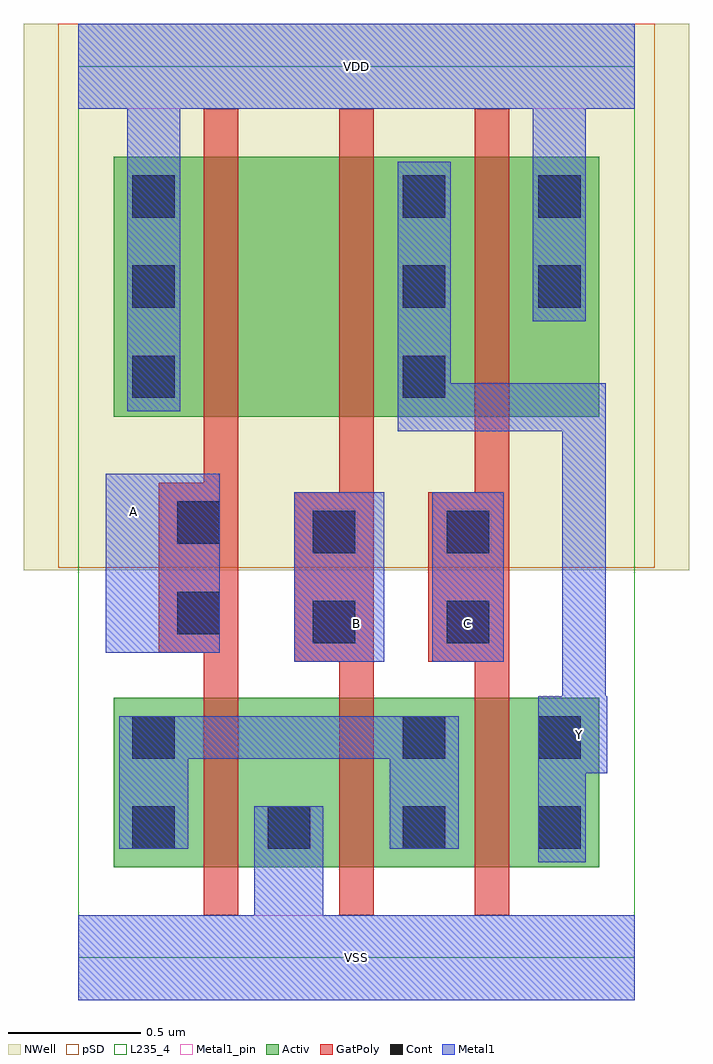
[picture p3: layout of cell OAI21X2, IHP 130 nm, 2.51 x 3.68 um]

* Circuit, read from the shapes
.subckt OAI21X2 A B C VDD VSS Y
XM1 VSS A n1 VSUBS sg13_lv_nmos w=0.64u l=0.13u
XM2 n1 B VSS VSUBS sg13_lv_nmos w=0.64u l=0.13u
XM3 Y C n1 VSUBS sg13_lv_nmos w=0.64u l=0.13u
XM4 n2 A VDD n3 sg13_lv_pmos w=0.98u l=0.13u
XM5 Y B n2 n3 sg13_lv_pmos w=0.98u l=0.13u
XM6 VDD C Y n3 sg13_lv_pmos w=0.98u l=0.13u
.ends

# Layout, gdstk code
import gdstk
lib = gdstk.Library(unit=1e-6, precision=1e-09)
def R(c, l, rs):  # rectangles x0, y0, x1, y1
    for r in rs: c.add(gdstk.rectangle(r[:2], r[2:], *l))
def A(c, l, x, y, w, h, nx, ny, dx, dy):  # array of equal rectangles
    R(c, l, [(x+i*dx, y+j*dy, x+i*dx+w, y+j*dy+h) for i in range(nx) for j in range(ny)])
def P(c, l, *ps):  # polygons
    for p in ps: c.add(gdstk.Polygon(p, *l))
Activ = (1, 0)
GatPoly = (5, 0)
Cont = (6, 0)
Metal1 = (8, 0)
Metal1_pin = (8, 2)
pSD = (14, 0)
NWell = (31, 0)
L235_4 = (235, 4)

oai21x2 = lib.new_cell('OAI21X2')
R(oai21x2, Activ, [(0.135,0.34,1.965,0.98), (0.135,2.04,1.965,3.02)])
P(oai21x2, GatPoly, [(0.475,0.16),(0.475,1.15),(0.305,1.15),(0.305,1.79),(0.475,1.79),(0.475,3.2),(0.605,3.2),(0.605,0.16)],
  [(0.985,0.16),(0.985,1.115),(0.815,1.115),(0.815,1.755),(0.985,1.755),(0.985,3.2),(1.115,3.2),(1.115,0.16)],
  [(1.495,0.16),(1.495,1.115),(1.32,1.115),(1.32,1.755),(1.495,1.755),(1.495,3.2),(1.625,3.2),(1.625,0.16)])
A(oai21x2, Cont, 0.205, 0.41, 0.16, 0.16, 4, 1, 0.51, 0)
A(oai21x2, Cont, 0.205, 2.11, 0.16, 0.16, 1, 3, 0, 0.34)
A(oai21x2, Cont, 1.225, 2.11, 0.16, 0.16, 1, 3, 0, 0.34)
R(oai21x2, Cont, [(0.205,0.75,0.365,0.91), (1.225,0.75,1.385,0.91), (1.735,0.75,1.895,0.91), (0.885,1.185,1.045,1.345), (1.39,1.185,1.55,1.345), (0.375,1.22,0.535,1.38), (0.885,1.525,1.045,1.685), (1.39,1.525,1.55,1.685), (0.375,1.56,0.535,1.72), (1.735,2.45,1.895,2.61), (1.735,2.79,1.895,2.95)])
R(oai21x2, Metal1, [(0.815,1.115,1.155,1.755), (1.335,1.115,1.605,1.755), (0.105,1.15,0.535,1.825)])
P(oai21x2, Metal1, [(1.735,0.36),(1.735,0.985),(1.825,0.985),(1.825,1.985),(1.205,1.985),(1.205,3),(1.405,3),(1.405,2.165),(1.99,2.165),(1.99,0.985),(1.995,0.985),(1.995,0.695),(1.915,0.695),(1.915,0.36)],
  [(0.185,2.06),(0.185,3.2),(0,3.2),(0,3.52),(2.1,3.52),(2.1,3.2),(1.915,3.2),(1.915,2.4),(1.715,2.4),(1.715,3.2),(0.385,3.2),(0.385,2.06)],
  [(0,-0.16),(0,0.16),(0.665,0.16),(0.665,0.57),(0.925,0.57),(0.925,0.16),(2.1,0.16),(2.1,-0.16)],
  [(0.155,0.41),(0.155,0.91),(1.435,0.91),(1.435,0.41),(1.175,0.41),(1.175,0.75),(0.415,0.75),(0.415,0.41)])
R(oai21x2, Metal1_pin, [(0,-0.16,2.1,0.16), (1.735,0.695,1.995,0.985), (0.815,1.115,1.155,1.755), (1.335,1.115,1.605,1.755), (0.105,1.15,0.535,1.825), (0,3.2,2.1,3.52)])
P(oai21x2, Metal1_pin, [(1.735,0.36),(1.735,0.985),(1.825,0.985),(1.825,1.985),(1.205,1.985),(1.205,3),(1.405,3),(1.405,2.165),(1.99,2.165),(1.99,0.985),(1.995,0.985),(1.995,0.695),(1.915,0.695),(1.915,0.36)])
R(oai21x2, pSD, [(-0.075,1.47,2.175,3.52)])
R(oai21x2, NWell, [(-0.205,1.46,2.305,3.52)])
R(oai21x2, L235_4, [(0,0,2.1,3.36)])
oai21x2.add(gdstk.Label('VSS', (1.05,0), layer=8, texttype=25))
oai21x2.add(gdstk.Label('C', (1.47,1.26), layer=8, texttype=25))
oai21x2.add(gdstk.Label('Y', (1.89,0.84), layer=8, texttype=25))
oai21x2.add(gdstk.Label('B', (1.05,1.26), layer=8, texttype=25))
oai21x2.add(gdstk.Label('VDD', (1.05,3.36), layer=8, texttype=25))
oai21x2.add(gdstk.Label('A', (0.21,1.68), layer=8, texttype=25))

lib.write_gds('OAI21X2.gds')
